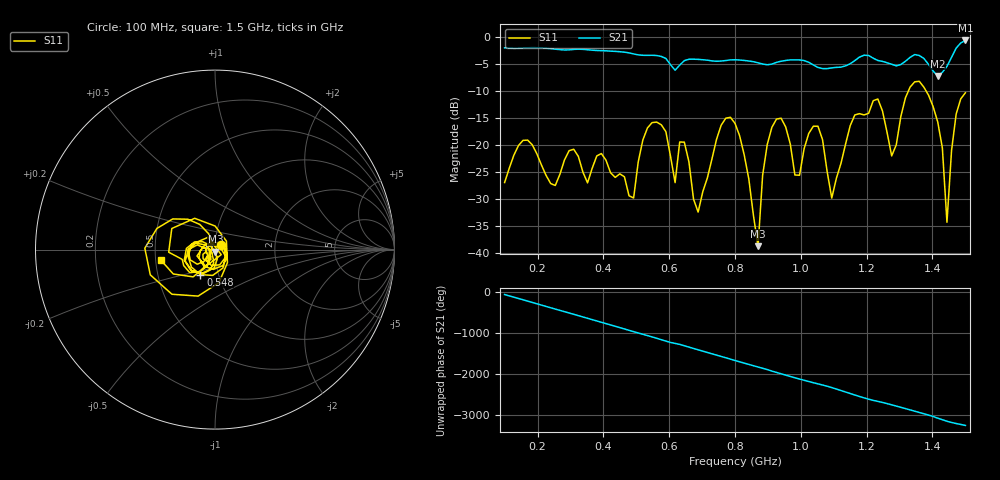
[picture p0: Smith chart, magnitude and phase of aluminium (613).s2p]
! NanoVNA-App
! Date: 2025-09-25 15:00:03
! Start: 100MHz Stop: 1,5GHz Points: 101
! S-Parameter data: F S11 S21 S12 S22
# Hz S RI R 50
!  Frequency  S11_Real  S11_Imag  S21_Real  S21_Imag  S12_Real  S12_Imag  S22_Real  S22_Imag
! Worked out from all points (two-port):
!   101 points, 100 MHz to 1.5 GHz, reference 50 ohm
!   highest |S21| = -0.56 dB at 1.5 GHz (marker M1); lowest = -7.1 dB at 1.416 GHz (marker M2)
!   |S21| within 3 dB of the highest: start of sweep to 577.1 MHz; 1.459 GHz to end of sweep (the widest 2 of 4)
!   lowest |S11| = -38.8 dB at 870 MHz (marker M3), VSWR 1.02, Z = 50.2 - j1.13 ohm
!   |S11| at or under -10 dB: start of sweep to 1.327 GHz; 1.381 GHz to end of sweep
!   S12 and S22 are empty: the file has one direction only
!   S11 on the Smith chart (normalised r, x): 100 MHz: 1.07, +0.06; 548 MHz: 0.82, -0.23; 1.5 GHz: 0.54, -0.07
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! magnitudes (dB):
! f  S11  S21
! 100 MHz  -27.0  -1.9
! 156 MHz  -19.1  -2.0
! 338 MHz  -25.0  -2.2
! 492 MHz  -29.8  -3.1
! 548 MHz  -15.8  -3.3
! 576 MHz  -16.2  -3.5
! 618 MHz  -27.0  -6.1
! 646 MHz  -19.5  -4.3
! 688 MHz  -32.5  -4.1
! 800 MHz  -16.0  -4.1
! 870 MHz  -38.8  -4.7
! 912 MHz  -16.7  -5.0
! 996 MHz  -25.6  -4.2
! 1.038 GHz  -16.5  -5.1
! 1.094 GHz  -29.8  -5.7
! 1.22 GHz  -11.8  -3.9
! 1.276 GHz  -22.0  -5.0
! 1.346 GHz  -8.2  -3.2
! 1.416 GHz  -15.7  -7.1
! 1.444 GHz  -34.3  -5.4
! 1.472 GHz  -14.2  -2.0
! 1.5 GHz  -10.3  -0.6
